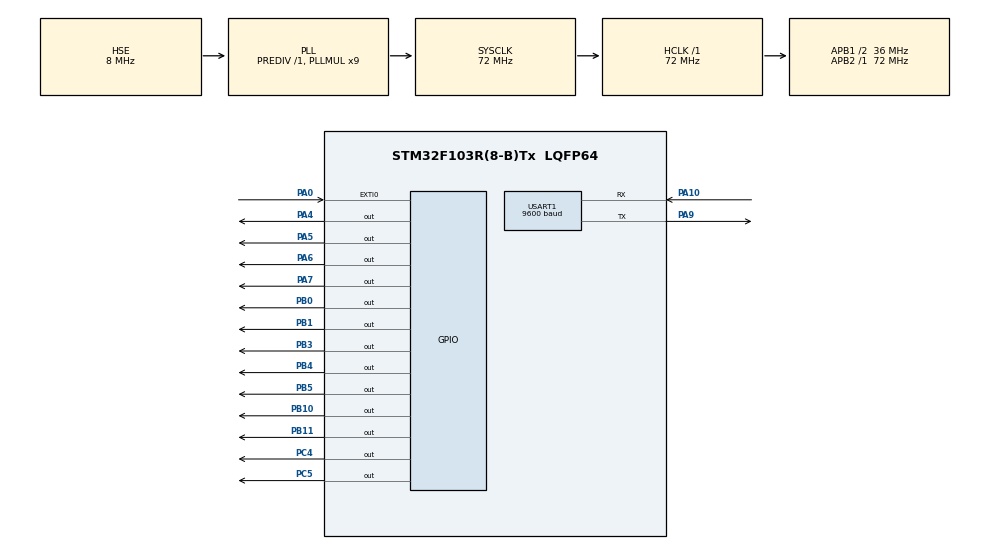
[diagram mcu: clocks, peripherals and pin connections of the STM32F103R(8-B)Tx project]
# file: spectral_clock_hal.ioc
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Mcu.Family=STM32F1
Mcu.Name=STM32F103R(8-B)Tx
Mcu.Package=LQFP64
NVIC.EXTI0_IRQn=true\:0\:0\:false\:false\:true\:true
NVIC.FLASH_IRQn=true\:0\:0\:false\:false\:true\:true
NVIC.PVD_IRQn=true\:0\:0\:false\:false\:true\:true
NVIC.PriorityGroup=NVIC_PRIORITYGROUP_2
NVIC.TIM3_IRQn=true\:2\:0\:true\:false\:true\:true
NVIC.TIM4_IRQn=true\:1\:0\:true\:false\:true\:true
NVIC.USART1_IRQn=true\:0\:0\:false\:false\:true\:true
PA0-WKUP.Signal=GPXTI0
PA10.Mode=Asynchronous
PA10.Signal=USART1_RX
PA13.Mode=Serial_Wire
PA13.Signal=SYS_JTMS-SWDIO
PA14.Mode=Serial_Wire
PA14.Signal=SYS_JTCK-SWCLK
PA4.Signal=GPIO_Output
PA5.Signal=GPIO_Output
PA6.Signal=GPIO_Output
PA7.Signal=GPIO_Output
PA9.Mode=Asynchronous
PA9.Signal=USART1_TX
PB0.Signal=GPIO_Output
PB1.Signal=GPIO_Output
PB10.Signal=GPIO_Output
PB11.Signal=GPIO_Output
PB3.Signal=GPIO_Output
PB4.Signal=GPIO_Output
PB5.Signal=GPIO_Output
PC4.Signal=GPIO_Output
PC5.Signal=GPIO_Output
PD0-OSC_IN.Mode=HSE-External-Oscillator
PD0-OSC_IN.Signal=RCC_OSC_IN
PD1-OSC_OUT.Mode=HSE-External-Oscillator
PD1-OSC_OUT.Signal=RCC_OSC_OUT
ProjectManager.HeapSize=0x200
ProjectManager.StackSize=0x400
ProjectManager.TargetToolchain=MDK-ARM V5
RCC.ADCPresc=RCC_ADCPCLK2_DIV6
RCC.AHBFreq_Value=72000000
RCC.APB1CLKDivider=RCC_HCLK_DIV2
RCC.APB1Freq_Value=36000000
RCC.APB1TimFreq_Value=72000000
RCC.APB2Freq_Value=72000000
RCC.APB2TimFreq_Value=72000000
RCC.HCLKFreq_Value=72000000
RCC.PLLMUL=RCC_PLL_MUL9
RCC.PLLSourceVirtual=RCC_PLLSOURCE_HSE
RCC.SYSCLKFreq_VALUE=72000000
RCC.SYSCLKSource=RCC_SYSCLKSOURCE_PLLCLK
RCC.USBFreq_Value=72000000
TIM3.Period=10000
TIM3.Prescaler=72 - 1
TIM4.Period=65535
TIM4.Prescaler=7200 - 1
USART1.BaudRate=9600
USART1.VirtualMode=VM_ASYNC
VP_RTC_VS_RTC_Activate.Mode=RTC_Enabled
VP_RTC_VS_RTC_Calendar.Mode=RTC_Calendar
VP_TIM3_VS_ClockSourceINT.Mode=Internal
VP_TIM4_VS_ClockSourceINT.Mode=Internal
board=spectral_clock_hal

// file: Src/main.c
/**
  ******************************************************************************
  * @file           : main.c
  * @brief          : Main program body
  ******************************************************************************
  ** This notice applies to any and all portions of this file
  * that are not between comment pairs USER CODE BEGIN and
  * USER CODE END. Other portions of this file, whether
  * inserted by the user or by software development tools
  * are owned by their respective copyright owners.
  *
  * COPYRIGHT(c) 2018 STMicroelectronics
  *
  * Redistribution and use in source and binary forms, with or without modification,
  * are permitted provided that the following conditions are met:
  *   1. Redistributions of source code must retain the above copyright notice,
  *      this list of conditions and the following disclaimer.
  *   2. Redistributions in binary form must reproduce the above copyright notice,
  *      this list of conditions and the following disclaimer in the documentation
  *      and/or other materials provided with the distribution.
  *   3. Neither the name of STMicroelectronics nor the names of its contributors
  *      may be used to endorse or promote products derived from this software
  *      without specific prior written permission.
  *
  * THIS SOFTWARE IS PROVIDED BY THE COPYRIGHT HOLDERS AND CONTRIBUTORS "AS IS"
  * AND ANY EXPRESS OR IMPLIED WARRANTIES, INCLUDING, BUT NOT LIMITED TO, THE
  * IMPLIED WARRANTIES OF MERCHANTABILITY AND FITNESS FOR A PARTICULAR PURPOSE ARE
  * DISCLAIMED. IN NO EVENT SHALL THE COPYRIGHT HOLDER OR CONTRIBUTORS BE LIABLE
  * FOR ANY DIRECT, INDIRECT, INCIDENTAL, SPECIAL, EXEMPLARY, OR CONSEQUENTIAL
  * DAMAGES (INCLUDING, BUT NOT LIMITED TO, PROCUREMENT OF SUBSTITUTE GOODS OR
  * SERVICES; LOSS OF USE, DATA, OR PROFITS; OR BUSINESS INTERRUPTION) HOWEVER
  * CAUSED AND ON ANY THEORY OF LIABILITY, WHETHER IN CONTRACT, STRICT LIABILITY,
  * OR TORT (INCLUDING NEGLIGENCE OR OTHERWISE) ARISING IN ANY WAY OUT OF THE USE
  * OF THIS SOFTWARE, EVEN IF ADVISED OF THE POSSIBILITY OF SUCH DAMAGE.
  *
  ******************************************************************************
  */
#include "main.h"
#include "stm32f1xx_hal.h"

/* USER CODE BEGIN Includes */
#include "pictures.h"
#include "service.h"
#include "test.h"
/* USER CODE END Includes */

RTC_HandleTypeDef hrtc;

TIM_HandleTypeDef htim3;
TIM_HandleTypeDef htim4;

UART_HandleTypeDef huart1;

/* USER CODE BEGIN PV */
/* Private variables ---------------------------------------------------------*/
led_latch_t U2_upper;
led_latch_t U19_lower;
events_t events;
engine_tim_t engine_tim;
picture_tim_t picture_tim;
picture_t picture;
uint8_t buffer[1];
/* USER CODE END PV */

void SystemClock_Config(void);
static void MX_GPIO_Init(void);
static void MX_RTC_Init(void);
static void MX_TIM4_Init(void);
static void MX_USART1_UART_Init(void);
static void MX_TIM3_Init(void);

/* USER CODE BEGIN PFP */
/* Private function prototypes -----------------------------------------------*/

/* USER CODE END PFP */

/* USER CODE BEGIN 0 */
void init()
{
	events.was_bluetooth_event = false;
	events.was_engine_event = false;
	events.was_leds_event = false;

	// U2
	U2_upper.GPIOx = GPIOB;
	U2_upper.pin = GPIO_PIN_10;

	// U19
	U19_lower.GPIOx = GPIOB;
	U19_lower.pin = GPIO_PIN_11;

	init_leds();

	// engine
	engine_tim.ratio_time = 0;
	engine_tim.htim = &htim4;
	engine_tim.htim->Instance->CNT = 0;
	HAL_TIM_Base_Start_IT(engine_tim.htim);

	//resolution
	picture_tim.resolution = RESOLUTION;
	picture_tim.resolution_time = 0;

	picture_tim.htim = &htim3;
	picture_tim.htim->Instance->CNT = 0;
	HAL_TIM_Base_Start_IT(picture_tim.htim);

	// init picture
	picture.data = ONYKS;
	picture.step = 0;
}

void init_leds()
{
	init_upper_leds();
	init_lower_leds();
}

void init_upper_leds()
{
	// U9
	led_t u9;
	u9.pin = GPIO_PIN_4;
	u9.GPIOx = GPIOA;
	// U8
	led_t u8;
	u8.pin = GPIO_PIN_5;
	u8.GPIOx = GPIOA;
	// U7
	led_t u7;
	u7.pin = GPIO_PIN_6;
	u7.GPIOx = GPIOA;
	// U6
	led_t u6;
	u6.pin = GPIO_PIN_7;
	u6.GPIOx = GPIOA;
	// U5
	led_t u5;
	u5.pin = GPIO_PIN_4;
	u5.GPIOx = GPIOC;
	// U4
	led_t u4;
	u4.pin = GPIO_PIN_5;
	u4.GPIOx = GPIOC;
	// U3
	led_t u3;
	u3.pin = GPIO_PIN_0;
	u3.GPIOx = GPIOB;
	// U1
	led_t u1;
	u1.pin = GPIO_PIN_1;
	u1.GPIOx = GPIOB;

	// U2 leds
	U2_upper.leds[U9] = u9;
	U2_upper.leds[U8] = u8;
	U2_upper.leds[U7] = u7;
	U2_upper.leds[U6] = u6;
	U2_upper.leds[U5] = u5;
	U2_upper.leds[U4] = u4;
	U2_upper.leds[U3] = u3;
	U2_upper.leds[U1] = u1;
}
void init_lower_leds()
{
	// U32
	led_t u32;
	u32.pin = GPIO_PIN_4;
	u32.GPIOx = GPIOA;
	// U30
	led_t u30;
	u30.pin = GPIO_PIN_5;
	u30.GPIOx = GPIOA;
	// U28
	led_t u28;
	u28.pin = GPIO_PIN_6;
	u28.GPIOx = GPIOA;
	// U25
	led_t u25;
	u25.pin = GPIO_PIN_7;
	u25.GPIOx = GPIOA;
	// U24
	led_t u24;
	u24.pin = GPIO_PIN_4;
	u24.GPIOx = GPIOC;
	// U22
	led_t u22;
	u22.pin = GPIO_PIN_5;
	u22.GPIOx = GPIOC;
	// U20
	led_t u20;
	u20.pin = GPIO_PIN_0;
	u20.GPIOx = GPIOB;
	// U17
	led_t u17;
	u17.pin = GPIO_PIN_1;
	u17.GPIOx = GPIOB;

	// U19 leds
	U19_lower.leds[U32] = u32;
	U19_lower.leds[U30] = u30;
	U19_lower.leds[U28] = u28;
	U19_lower.leds[U25] = u25;
	U19_lower.leds[U24] = u24;
	U19_lower.leds[U22] = u22;
	U19_lower.leds[U20] = u20;
	U19_lower.leds[U17] = u17;
}
/* USER CODE END 0 */

int main(void)
{

  /* MCU Configuration----------------------------------------------------------*/

  /* Reset of all peripherals, Initializes the Flash interface and the Systick. */
  HAL_Init();

  /* Configure the system clock */
  SystemClock_Config();

  /* Initialize all configured peripherals */
  MX_GPIO_Init();
  MX_RTC_Init();
  MX_TIM4_Init();
  MX_USART1_UART_Init();
  MX_TIM3_Init();
  /* USER CODE BEGIN 2 */
	init();

  /* USER CODE END 2 */

  /* Infinite loop */
  /* USER CODE BEGIN WHILE */
	HAL_UART_Receive_IT(&huart1, buffer, sizeof(buffer) / sizeof(uint8_t));
	test_power_suply();
	//test_leds_and_latch();
  while (1)
  {
		if(events.was_bluetooth_event)
		{
			change_picture(buffer[0], &picture);

			HAL_UART_Receive_IT(&huart1, buffer, sizeof(buffer) / sizeof(uint8_t));

			events.was_bluetooth_event = false;
		}
		if(events.was_engine_event)
		{
			update_resolution_time(&engine_tim, &picture_tim);
			events.was_engine_event = false;
		}
		if(events.was_leds_event)
		{
			update_leds(picture);

			picture.step++; // dodaje dwa razy czyli dwa razy wchodzi w ta funkcje w jednym kacie

			if(picture.step == RESOLUTION)
			{
				picture.step = 0;
			}
			events.was_leds_event = false;
		}
  /* USER CODE END WHILE */

	}

}

void SystemClock_Config(void)
{

  RCC_OscInitTypeDef RCC_OscInitStruct;
  RCC_ClkInitTypeDef RCC_ClkInitStruct;
  RCC_PeriphCLKInitTypeDef PeriphClkInit;

    /**Initializes the CPU, AHB and APB busses clocks
    */
  RCC_OscInitStruct.OscillatorType = RCC_OSCILLATORTYPE_LSI|RCC_OSCILLATORTYPE_HSE;
  RCC_OscInitStruct.HSEState = RCC_HSE_ON;
  RCC_OscInitStruct.HSEPredivValue = RCC_HSE_PREDIV_DIV1;
  RCC_OscInitStruct.HSIState = RCC_HSI_ON;
  RCC_OscInitStruct.LSIState = RCC_LSI_ON;
  RCC_OscInitStruct.PLL.PLLState = RCC_PLL_ON;
  RCC_OscInitStruct.PLL.PLLSource = RCC_PLLSOURCE_HSE;
  RCC_OscInitStruct.PLL.PLLMUL = RCC_PLL_MUL9;
  if (HAL_RCC_OscConfig(&RCC_OscInitStruct) != HAL_OK)
  {
    _Error_Handler(__FILE__, __LINE__);
  }

    /**Initializes the CPU, AHB and APB busses clocks
    */
  RCC_ClkInitStruct.ClockType = RCC_CLOCKTYPE_HCLK|RCC_CLOCKTYPE_SYSCLK
                              |RCC_CLOCKTYPE_PCLK1|RCC_CLOCKTYPE_PCLK2;
  RCC_ClkInitStruct.SYSCLKSource = RCC_SYSCLKSOURCE_PLLCLK;
  RCC_ClkInitStruct.AHBCLKDivider = RCC_SYSCLK_DIV1;
  RCC_ClkInitStruct.APB1CLKDivider = RCC_HCLK_DIV2;
  RCC_ClkInitStruct.APB2CLKDivider = RCC_HCLK_DIV1;

  if (HAL_RCC_ClockConfig(&RCC_ClkInitStruct, FLASH_LATENCY_2) != HAL_OK)
  {
    _Error_Handler(__FILE__, __LINE__);
  }

  PeriphClkInit.PeriphClockSelection = RCC_PERIPHCLK_RTC;
  PeriphClkInit.RTCClockSelection = RCC_RTCCLKSOURCE_LSI;
  if (HAL_RCCEx_PeriphCLKConfig(&PeriphClkInit) != HAL_OK)
  {
    _Error_Handler(__FILE__, __LINE__);
  }

    /**Configure the Systick interrupt time
    */
  HAL_SYSTICK_Config(HAL_RCC_GetHCLKFreq()/1000);

    /**Configure the Systick
    */
  HAL_SYSTICK_CLKSourceConfig(SYSTICK_CLKSOURCE_HCLK);

  /* SysTick_IRQn interrupt configuration */
  HAL_NVIC_SetPriority(SysTick_IRQn, 0, 0);
}

/* RTC init function */
static void MX_RTC_Init(void)
{

  RTC_TimeTypeDef sTime;
  RTC_DateTypeDef DateToUpdate;

    /**Initialize RTC Only
    */
  hrtc.Instance = RTC;
  if(HAL_RTCEx_BKUPRead(&hrtc, RTC_BKP_DR1) != 0x32F2){
  hrtc.Init.AsynchPrediv = RTC_AUTO_1_SECOND;
  hrtc.Init.OutPut = RTC_OUTPUTSOURCE_ALARM;
  if (HAL_RTC_Init(&hrtc) != HAL_OK)
  {
    _Error_Handler(__FILE__, __LINE__);
  }

    /**Initialize RTC and set the Time and Date
    */
  sTime.Hours = 0x1;
  sTime.Minutes = 0x0;
  sTime.Seconds = 0x0;

  if (HAL_RTC_SetTime(&hrtc, &sTime, RTC_FORMAT_BCD) != HAL_OK)
  {
    _Error_Handler(__FILE__, __LINE__);
  }

  DateToUpdate.WeekDay = RTC_WEEKDAY_MONDAY;
  DateToUpdate.Month = RTC_MONTH_JANUARY;
  DateToUpdate.Date = 0x1;
  DateToUpdate.Year = 0x0;

  if (HAL_RTC_SetDate(&hrtc, &DateToUpdate, RTC_FORMAT_BCD) != HAL_OK)
  {
    _Error_Handler(__FILE__, __LINE__);
  }

    HAL_RTCEx_BKUPWrite(&hrtc,RTC_BKP_DR1,0x32F2);
  }

}

/* TIM3 init function */
static void MX_TIM3_Init(void)
{

  TIM_ClockConfigTypeDef sClockSourceConfig;
  TIM_MasterConfigTypeDef sMasterConfig;

  htim3.Instance = TIM3;
  htim3.Init.Prescaler = 72 - 1;
  htim3.Init.CounterMode = TIM_COUNTERMODE_UP;
  htim3.Init.Period = 10000;
  htim3.Init.ClockDivision = TIM_CLOCKDIVISION_DIV1;
  htim3.Init.AutoReloadPreload = TIM_AUTORELOAD_PRELOAD_DISABLE;
  if (HAL_TIM_Base_Init(&htim3) != HAL_OK)
  {
    _Error_Handler(__FILE__, __LINE__);
  }

  sClockSourceConfig.ClockSource = TIM_CLOCKSOURCE_INTERNAL;
  if (HAL_TIM_ConfigClockSource(&htim3, &sClockSourceConfig) != HAL_OK)
  {
    _Error_Handler(__FILE__, __LINE__);
  }

  sMasterConfig.MasterOutputTrigger = TIM_TRGO_RESET;
  sMasterConfig.MasterSlaveMode = TIM_MASTERSLAVEMODE_DISABLE;
  if (HAL_TIMEx_MasterConfigSynchronization(&htim3, &sMasterConfig) != HAL_OK)
  {
    _Error_Handler(__FILE__, __LINE__);
  }

}

/* TIM4 init function */
static void MX_TIM4_Init(void)
{

  TIM_ClockConfigTypeDef sClockSourceConfig;
  TIM_MasterConfigTypeDef sMasterConfig;

  htim4.Instance = TIM4;
  htim4.Init.Prescaler = 7200 - 1;
  htim4.Init.CounterMode = TIM_COUNTERMODE_UP;
  htim4.Init.Period = 65535;
  htim4.Init.ClockDivision = TIM_CLOCKDIVISION_DIV1;
  htim4.Init.AutoReloadPreload = TIM_AUTORELOAD_PRELOAD_DISABLE;
  if (HAL_TIM_Base_Init(&htim4) != HAL_OK)
  {
    _Error_Handler(__FILE__, __LINE__);
  }

  sClockSourceConfig.ClockSource = TIM_CLOCKSOURCE_INTERNAL;
  if (HAL_TIM_ConfigClockSource(&htim4, &sClockSourceConfig) != HAL_OK)
  {
    _Error_Handler(__FILE__, __LINE__);
  }

  sMasterConfig.MasterOutputTrigger = TIM_TRGO_RESET;
  sMasterConfig.MasterSlaveMode = TIM_MASTERSLAVEMODE_DISABLE;
  if (HAL_TIMEx_MasterConfigSynchronization(&htim4, &sMasterConfig) != HAL_OK)
  {
    _Error_Handler(__FILE__, __LINE__);
  }

}

/* USART1 init function */
static void MX_USART1_UART_Init(void)
{

  huart1.Instance = USART1;
  huart1.Init.BaudRate = 9600;
  huart1.Init.WordLength = UART_WORDLENGTH_8B;
  huart1.Init.StopBits = UART_STOPBITS_1;
  huart1.Init.Parity = UART_PARITY_NONE;
  huart1.Init.Mode = UART_MODE_TX_RX;
  huart1.Init.HwFlowCtl = UART_HWCONTROL_NONE;
  huart1.Init.OverSampling = UART_OVERSAMPLING_16;
  if (HAL_UART_Init(&huart1) != HAL_OK)
  {
    _Error_Handler(__FILE__, __LINE__);
  }

}

/** Configure pins as
        * Analog
        * Input
        * Output
        * EVENT_OUT
        * EXTI
*/
static void MX_GPIO_Init(void)
{

  GPIO_InitTypeDef GPIO_InitStruct;

  /* GPIO Ports Clock Enable */
  __HAL_RCC_GPIOD_CLK_ENABLE();
  __HAL_RCC_GPIOA_CLK_ENABLE();
  __HAL_RCC_GPIOC_CLK_ENABLE();
  __HAL_RCC_GPIOB_CLK_ENABLE();

  /*Configure GPIO pin Output Level */
  HAL_GPIO_WritePin(GPIOA, GPIO_PIN_4|GPIO_PIN_5|GPIO_PIN_6|GPIO_PIN_7, GPIO_PIN_RESET);

  /*Configure GPIO pin Output Level */
  HAL_GPIO_WritePin(GPIOC, GPIO_PIN_4|GPIO_PIN_5, GPIO_PIN_RESET);

  /*Configure GPIO pin Output Level */
  HAL_GPIO_WritePin(GPIOB, GPIO_PIN_0|GPIO_PIN_1|GPIO_PIN_10|GPIO_PIN_11
                          |GPIO_PIN_3|GPIO_PIN_4|GPIO_PIN_5, GPIO_PIN_RESET);

  /*Configure GPIO pin : PA0 */
  GPIO_InitStruct.Pin = GPIO_PIN_0;
  GPIO_InitStruct.Mode = GPIO_MODE_IT_RISING;
  GPIO_InitStruct.Pull = GPIO_NOPULL;
  HAL_GPIO_Init(GPIOA, &GPIO_InitStruct);

  /*Configure GPIO pins : PA4 PA5 PA6 PA7 */
  GPIO_InitStruct.Pin = GPIO_PIN_4|GPIO_PIN_5|GPIO_PIN_6|GPIO_PIN_7;
  GPIO_InitStruct.Mode = GPIO_MODE_OUTPUT_PP;
  GPIO_InitStruct.Speed = GPIO_SPEED_FREQ_LOW;
  HAL_GPIO_Init(GPIOA, &GPIO_InitStruct);

  /*Configure GPIO pins : PC4 PC5 */
  GPIO_InitStruct.Pin = GPIO_PIN_4|GPIO_PIN_5;
  GPIO_InitStruct.Mode = GPIO_MODE_OUTPUT_PP;
  GPIO_InitStruct.Speed = GPIO_SPEED_FREQ_LOW;
  HAL_GPIO_Init(GPIOC, &GPIO_InitStruct);

  /*Configure GPIO pins : PB0 PB1 PB10 PB11
                           PB3 PB4 PB5 */
  GPIO_InitStruct.Pin = GPIO_PIN_0|GPIO_PIN_1|GPIO_PIN_10|GPIO_PIN_11
                          |GPIO_PIN_3|GPIO_PIN_4|GPIO_PIN_5;
  GPIO_InitStruct.Mode = GPIO_MODE_OUTPUT_PP;
  GPIO_InitStruct.Speed = GPIO_SPEED_FREQ_LOW;
  HAL_GPIO_Init(GPIOB, &GPIO_InitStruct);

  /* EXTI interrupt init*/
  HAL_NVIC_SetPriority(EXTI0_IRQn, 0, 0);
  HAL_NVIC_EnableIRQ(EXTI0_IRQn);

}

void _Error_Handler(char *file, int line)
{
  while(1)
  {
  }
}

/************************ (C) COPYRIGHT STMicroelectronics *****END OF FILE****/
